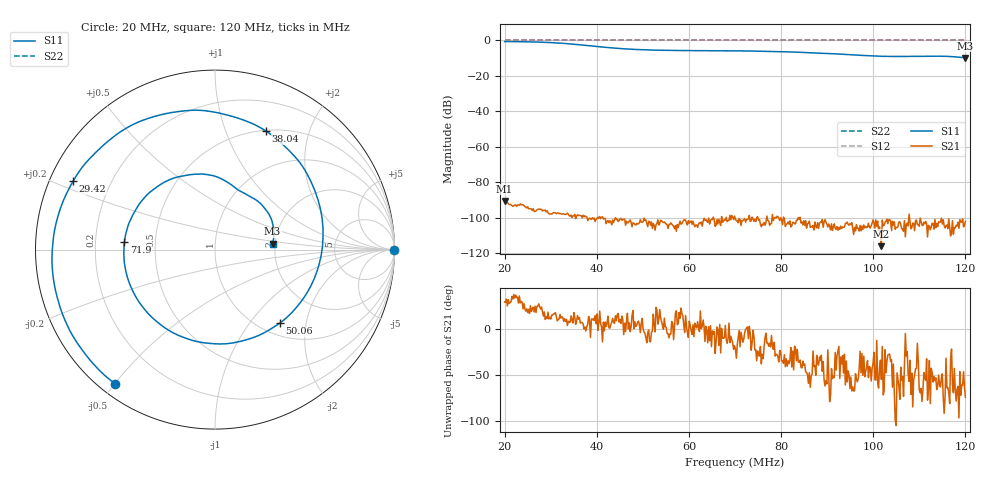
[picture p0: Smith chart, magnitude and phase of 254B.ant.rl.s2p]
! Anritsu VNA Master:  Model: MS2036C/10/77
! SN:  1601066
! /bd0/18may26.balun/4b.me3.s2p
! Existing Calibration Information:
! TYPE:  Current Settings,  Active Cal Settings
! TIME:  05/26/2018 05:12:17 PM,  05/26/2018 05:08:07 PM
! INTERNAL TEMP:  52.5 C,  52.5 C
! # POINTS:  500,  500
! START FREQ:  20.000 MHz,  20.000 MHz
! STOP FREQ:  120.000 MHz,  120.000 MHz
! SOURCE POWER:  High,  High
! IFBW:  50 Hz,  50 Hz
! AVG FACTOR:  1 ,  1
! REF PLANE 1:  0 mm,  0 mm
! REF PLANE 2:  0 mm,  0 mm
! CAL TYPE:  Full S11,  Full S11
! CAL METHOD:  SOLT,  SOLT
! CAL LINE TYPE:  Coax,  Coax
! DUT PORT 1:  K-Conn(M),  K-Conn(M)
! DUT PORT 2:  K-Conn(M),  K-Conn(M)
! CAL STATUS:  OK: Accuracy High,  --
# GHZ S DB R 50.0
! FREQ.GHZ  S11DB  S11A  S21DB  S21A  S12DB  S12A  S22DB  S22A
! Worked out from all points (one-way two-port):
!   500 points, 20 MHz to 120 MHz, reference 50 ohm
!   highest |S21| = -90.52 dB at 20 MHz (marker M1); lowest = -116.1 dB at 101.8 MHz (marker M2)
!   lowest |S11| = -9.8 dB at 120 MHz (marker M3), VSWR 1.95, Z = 97 + j7.11 ohm
!   |S11| at or under -10 dB: nowhere
!   |S22| runs from 0.0 to 0.0 dB; largest |S21 - S12| = 1
!   S11 on the Smith chart (normalised r, x): 20 MHz: 0.04, -0.50; 29.42 MHz: 0.07, +0.23; 38.04 MHz: 0.51, +1.39; 50.06 MHz: 1.22, -1.42; 71.9 MHz: 0.33, +0.04; 120 MHz: 1.94, +0.14
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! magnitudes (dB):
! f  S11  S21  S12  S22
! 20 MHz  -0.6  -90.5  0.0  0.0
! 25.61 MHz  -0.8  -95.0  0.0  0.0
! 29.42 MHz  -1.1  -97.3  0.0  0.0
! 32.83 MHz  -1.6  -97.9  0.0  0.0
! 36.83 MHz  -2.6  -100.0  0.0  0.0
! 38.04 MHz  -2.9  -101.6  0.0  0.0
! 44.25 MHz  -4.4  -101.1  0.0  0.0
! 50.06 MHz  -5.3  -102.4  0.0  0.0
! 53.47 MHz  -5.5  -104.2  0.0  0.0
! 70.1 MHz  -5.9  -101.0  0.0  0.0
! 71.9 MHz  -5.9  -101.1  0.0  0.0
! 79.52 MHz  -6.3  -100.5  0.0  0.0
! 86.73 MHz  -7.0  -105.4  0.0  0.0
! 92.95 MHz  -7.7  -104.8  0.0  0.0
! 98.96 MHz  -8.6  -103.2  0.0  0.0
! 101.8 MHz  -9.0  -116.1  0.0  0.0
! 103.4 MHz  -9.0  -101.2  0.0  0.0
! 107 MHz  -9.0  -110.9  0.0  0.0
! 111.4 MHz  -8.9  -102.1  0.0  0.0
! 114.8 MHz  -8.9  -100.2  0.0  0.0
! 117.4 MHz  -9.2  -109.5  0.0  0.0
! 120 MHz  -9.8  -102.1  0.0  0.0
